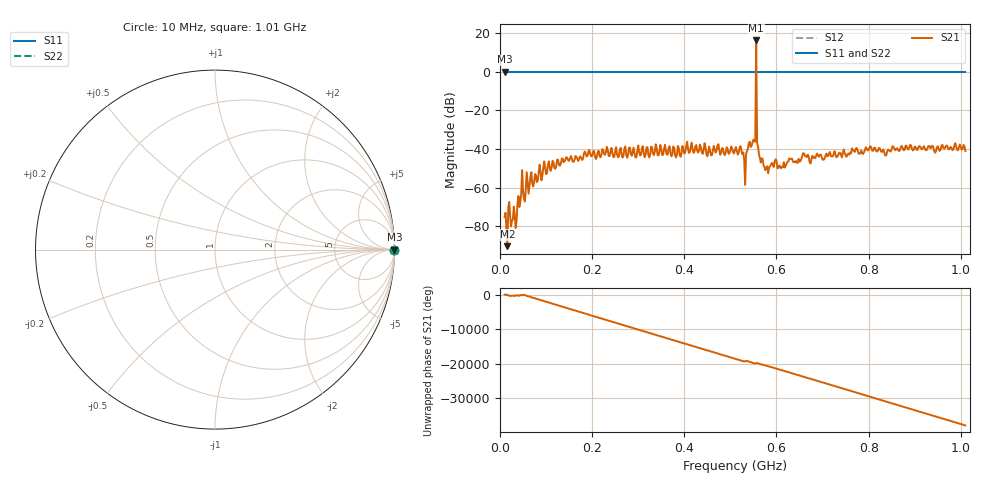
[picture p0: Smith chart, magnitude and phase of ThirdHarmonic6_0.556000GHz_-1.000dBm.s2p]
! 8/15/2025 5:40:59 PM
! C:\ANRITSUVNA\TEMP\TEMP.S2P
! CHANNEL.1
! TR.MEASUREMENT
! RAW.DATA
! RF.CORRECTION.OFF
! AVERAGING.OFF
! IF.BANDWIDTH: 5KHZ
! SWEEPTYPE:  FREQ.SWEEP(Linear)
! Reference Plane Port Info
! PORT:  PORT1  PORT2
! DISTANCE:  0  m  0  m
! TIME:  0  s  0  s
! PHASE.OFFSET:  0  deg.  0  deg.
! LOSS:  0  dB  0  dB
! REF.LOSS:  0  dB  0  dB
! REF.FREQ:  0  Hz  0  Hz
! Power Info
! POWER:  -20  dBm  -20  dBm
! EFF.POWER:  -20  dBm  -20  dBm
! SOURCE.ATTEN:  0  dB  0  dB
! TEST.ATTEN:  0  dB  0  dB
# GHZ S RI R 50.0
! FREQ.GHZ  S11RE  S11IM  S21RE  S21IM  S12RE  S12IM  S22RE  S22IM
!; PortSelection: Port_12
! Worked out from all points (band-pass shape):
!   501 points, 10 MHz to 1.01 GHz, reference 50 ohm
!   highest |S21| = 16.23 dB at 556 MHz (marker M1); lowest = -90.2 dB at 16 MHz (marker M2)
!   |S21| within 3 dB of the highest: 555.8853 MHz to 556.1126 MHz (227.3 kHz wide, 0.0409 % of centre)
!   lowest |S11| = 0.0 dB at 10 MHz (marker M3)
!   |S11| at or under -10 dB: nowhere
!   |S22| runs from 0.0 to 0.0 dB; largest |S21 - S12| = 6.5
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0.01  1 0  0.000154 -8.72e-05  1 0  1 0
0.016  1 0  -2.93e-05 -9.6e-06  1 0  1 0
0.032  1 0  0.000111 -0.000155  1 0  1 0
0.044  1 0  -0.000134 -0.000398  1 0  1 0
0.096  1 0  -0.00116 -0.00469  1 0  1 0
0.178  1 0  -0.00525 0.000266  1 0  1 0
0.344  1 0  0.00563 -0.00394  1 0  1 0
0.51  1 0  -0.00622 0.00718  1 0  1 0
0.524  1 0  -0.00133 -0.00892  1 0  1 0
0.53  1 0  0.00471 0.00237  1 0  1 0
0.536  1 0  -0.00842 0.0026  1 0  1 0
0.538  1 0  -0.000888 0.0103  1 0  1 0
0.55  1 0  0.00721 -0.0161  1 0  1 0
0.552  1 0  -0.0153 -0.00381  1 0  1 0
0.556  1 0  0.0583 -6.481  1 0  1 0
0.56  1 0  -0.0107 -0.005  1 0  1 0
0.562  1 0  -0.00367 0.00617  1 0  1 0
0.58  1 0  -0.00339 0.00118  1 0  1 0
0.66  1 0  -0.00471 -0.0061  1 0  1 0
0.678  1 0  -0.003 -0.00598  1 0  1 0
0.844  1 0  0.00702 0.00614  1 0  1 0
1.01  1 0  -0.00879 -0.00184  1 0  1 0
